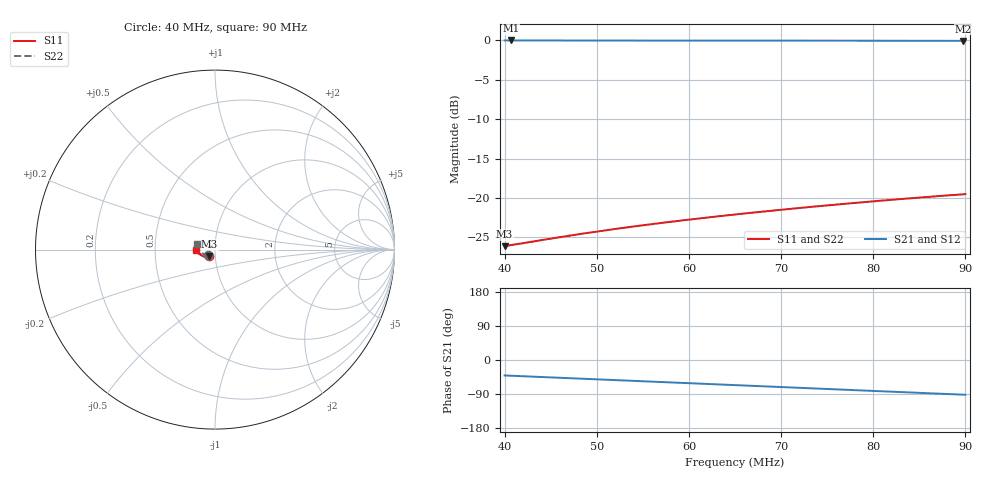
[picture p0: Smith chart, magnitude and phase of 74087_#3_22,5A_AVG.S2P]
!Agilent Technologies,E5061B,MY49102235,A.02.00
!Date: Mon Jul 03 11:21:38 2023
!Data & Calibration Information:
!Freq	S11:SOLT2(ON)	S21:SOLT2(ON)	S12:SOLT2(ON)	S22:SOLT2(ON)
# Hz S RI R 50
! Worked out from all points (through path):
!   1600 points, 40 MHz to 90 MHz, reference 50 ohm
!   highest |S21| = -0.01 dB at 40.69 MHz (marker M1); lowest = -0.1 dB at 89.78 MHz (marker M2)
!   group delay of S21, straight-line fit = 2.83 ns
!   lowest |S11| = -26.1 dB at 40 MHz (marker M3), VSWR 1.10, Z = 46.8 - j3.55 ohm
!   |S11| at or under -10 dB: start of sweep to end of sweep
!   |S22| runs from -26.3 to -19.5 dB; largest |S21 - S12| = 0.0014
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4e7  -0.0317 -0.0379  0.7561 -0.6529  0.7562 -0.652  -0.0363 -0.0324
4.068793e7  -0.0326 -0.0381  0.7483 -0.6621  0.7483 -0.6611  -0.0373 -0.0325
4.300188e7  -0.0359 -0.0386  0.72 -0.6921  0.7203 -0.6915  -0.0412 -0.0323
4.444028e7  -0.038 -0.039  0.7019 -0.7101  0.7022 -0.7096  -0.0436 -0.0321
4.834897e7  -0.0438 -0.0397  0.6508 -0.7569  0.6508 -0.7565  -0.0501 -0.0307
5.225766e7  -0.05 -0.0397  0.5962 -0.8001  0.5962 -0.7996  -0.0565 -0.0284
5.482176e7  -0.0538 -0.0395  0.5589 -0.826  0.559 -0.8258  -0.0607 -0.0264
5.666667e7  -0.0568 -0.0391  0.5315 -0.8436  0.5315 -0.8432  -0.0636 -0.0247
5.873046e7  -0.0602 -0.0383  0.5004 -0.8625  0.5001 -0.8619  -0.0667 -0.0228
6.082552e7  -0.0635 -0.0374  0.4679 -0.8802  0.4678 -0.8797  -0.0697 -0.0206
6.501563e7  -0.0705 -0.0346  0.4009 -0.9126  0.4012 -0.9117  -0.0758 -0.0158
6.901814e7  -0.077 -0.0309  0.3349 -0.9386  0.3355 -0.9378  -0.0813 -0.0104
7.133208e7  -0.0807 -0.0283  0.2959 -0.9515  0.2965 -0.9507  -0.0844 -0.00691
7.33646e7  -0.0839 -0.0261  0.261 -0.9615  0.2618 -0.9608  -0.087 -0.00368
7.530331e7  -0.0869 -0.0236  0.2275 -0.9696  0.2282 -0.9691  -0.0892 -0.000372
7.746091e7  -0.0898 -0.0207  0.1901 -0.9773  0.1906 -0.9768  -0.0917 0.00348
7.936836e7  -0.0926 -0.0181  0.1566 -0.9827  0.1572 -0.9824  -0.0936 0.00727
8.16823e7  -0.0958 -0.0148  0.1161 -0.9879  0.1166 -0.9877  -0.0958 0.0119
8.362101e7  -0.0982 -0.0119  0.0819 -0.9908  0.0824 -0.9906  -0.0973 0.0161
8.596623e7  -0.1011 -0.00816  0.0409 -0.9931  0.0411 -0.9928  -0.0988 0.0213
8.978111e7  -0.1055 -0.0016  -0.026 -0.9928  -0.0258 -0.9925  -0.1009 0.03
9e7  -0.1057 -0.00112  -0.0296 -0.9928  -0.0296 -0.9923  -0.101 0.0306
